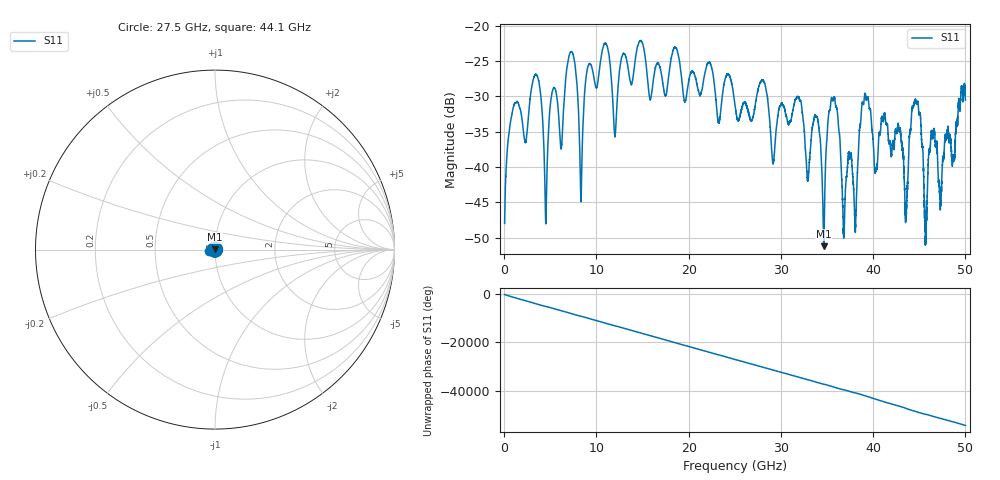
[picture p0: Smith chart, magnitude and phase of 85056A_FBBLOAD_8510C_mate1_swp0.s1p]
!Created with skrf (http://scikit-rf.org).
# Hz S RI R 50.0
!freq ReS11 ImS11
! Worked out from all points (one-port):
!   10001 points, 45 MHz to 50 GHz, reference 50 ohm
!   lowest |S11| = -51.2 dB at 34.63 GHz (marker M1), VSWR 1.01, Z = 49.8 + j0.219 ohm
!   |S11| at or under -10 dB: start of sweep to end of sweep
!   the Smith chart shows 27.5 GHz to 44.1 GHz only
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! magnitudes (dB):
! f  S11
! 45 MHz  -48.0
! 929.2 MHz  -31.9
! 3.337 GHz  -27.0
! 4.496 GHz  -47.6
! 5.28 GHz  -29.0
! 6.289 GHz  -35.7
! 7.204 GHz  -23.7
! 8.323 GHz  -44.8
! 9.162 GHz  -25.5
! 12.01 GHz  -35.7
! 12.53 GHz  -26.0
! 18.78 GHz  -23.6
! 25.02 GHz  -31.1
! 31.27 GHz  -32.2
! 32.92 GHz  -41.9
! 33.88 GHz  -32.8
! 34.63 GHz  -51.2
! 35.61 GHz  -30.6
! 36.78 GHz  -48.6
! 37.51 GHz  -38.4
! 38.08 GHz  -48.8
! 39.26 GHz  -30.4
! 43.76 GHz  -41.8
! 44.45 GHz  -30.9
! 45.7 GHz  -49.9
! 46.44 GHz  -35.8
! 47.27 GHz  -45.3
! 50 GHz  -30.5
